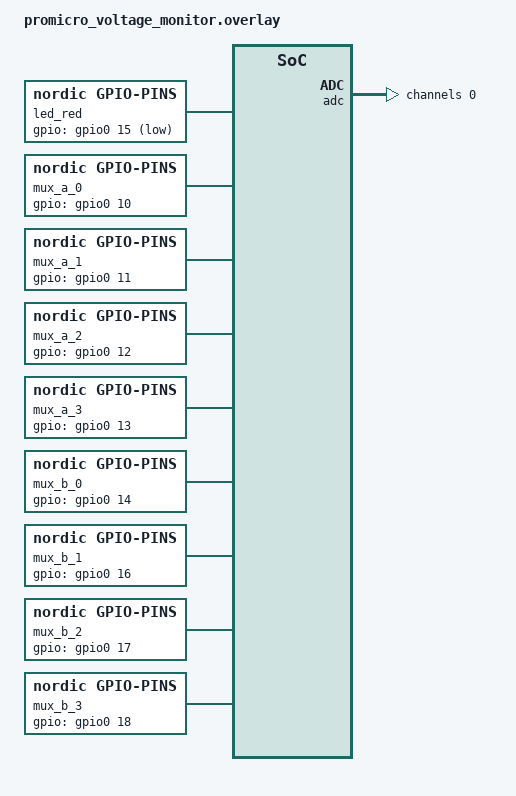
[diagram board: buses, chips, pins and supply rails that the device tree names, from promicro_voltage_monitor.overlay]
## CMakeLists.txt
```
#
# Copyright (c) 2018 Nordic Semiconductor
#
# SPDX-License-Identifier: LicenseRef-Nordic-5-Clause
#
cmake_minimum_required(VERSION 3.20.0)

find_package(Zephyr REQUIRED HINTS $ENV{ZEPHYR_BASE})
project(promicro_battery_monitor)

set(BOARD_ROOT ${CMAKE_CURRENT_SOURCE_DIR}/boards)

# NORDIC SDK APP START
target_sources(app PRIVATE
  src/main.c
  src/application/application.c
  src/bluetooth/bluetooth.c
  src/bluetooth/service.c
  src/sensor/main_voltage.c
  src/sensor/internal_temp.c
  src/hardware/led.c
  src/hardware/mux.c
)

# NORDIC SDK APP END
zephyr_library_include_directories(.)

# add_custom_command(TARGET app POST_BUILD
#     COMMAND ${CMAKE_COMMAND} -E copy ${CMAKE_BINARY_DIR}/zephyr/app_update.bin C:/Users/Olof/OneDrive/DFU
#     COMMENT "Copying app_update.bin to specified folder"
# )
```

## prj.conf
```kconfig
#
# Copyright (c) 2018 Nordic Semiconductor
#
# SPDX-License-Identifier: LicenseRef-Nordic-5-Clause
#
CONFIG_NCS_SAMPLES_DEFAULTS=y

CONFIG_ADC=y
CONFIG_ADC_NRFX_SAADC=y

CONFIG_BT=y
CONFIG_BT_PERIPHERAL=y
CONFIG_BT_CENTRAL=y
CONFIG_BT_GATT_CLIENT=y
CONFIG_BT_DEVICE_NAME="ProMicro Voltage Monitor"
CONFIG_BT_SETTINGS=y
CONFIG_SETTINGS=y

CONFIG_BT_NUS=y
CONFIG_BT_GATT_DYNAMIC_DB=y
CONFIG_BT_MAX_CONN=1
CONFIG_BT_GATT_AUTO_SEC_REQ=y
CONFIG_UART_CONSOLE=y


# Enable the NRFX drivers (if not already enabled in your project)
CONFIG_NRFX_TEMP=y

# Enable the LBS service
CONFIG_DK_LIBRARY=y

CONFIG_SYSTEM_WORKQUEUE_STACK_SIZE=2048

CONFIG_BOOTLOADER_MCUBOOT=y
CONFIG_NCS_SAMPLE_MCUMGR_BT_OTA_DFU=y

CONFIG_FLASH=y
CONFIG_FLASH_PAGE_LAYOUT=y
CONFIG_NVS=y
CONFIG_FLASH_MAP=y
CONFIG_MPU_ALLOW_FLASH_WRITE=y
CONFIG_MAIN_STACK_SIZE=2048

CONFIG_LOG=y
CONFIG_LOG_MODE_IMMEDIATE=y
CONFIG_UART_CONSOLE=y
CONFIG_CONSOLE=y
CONFIG_STDOUT_CONSOLE=y

CONFIG_USE_SEGGER_RTT=y
CONFIG_LOG_BACKEND_RTT=y
CONFIG_LOG_BACKEND_UART=n

CONFIG_NVS_LOG_LEVEL_DBG=y  
```

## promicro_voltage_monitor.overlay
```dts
/ {
    gate_1: gate-1 {
        status = "disabled";
    };

    gate_2: gate-2 {
        status = "disabled";
    };

    sw_1: sw-1 {
        status = "disabled";
    };

    sw_2: sw-2 {
        status = "disabled";
    };

    pir_1: pir-1 {
        status = "disabled";
    };

    sw_pwr_1: sw-pwr-1 {
        status = "disabled";
    };

	button_1: button-1 {
        status = "disabled";
    };

	sw_mp3: sw-mp3 {
        status = "disabled";
    };

	sw_light: sw-light {
        status = "disabled";
    };

    led_red: led_red {
		compatible = "nordic,gpio-pins";
		gpios = <&gpio0 15 (GPIO_ACTIVE_LOW)>;
        status = "okay";
	};


    mux_a_0: mux_a_0 {
        compatible = "nordic,gpio-pins";
        gpios = <&gpio0 10 (GPIO_ACTIVE_HIGH)>;
        status = "okay";
    };

    mux_a_1: mux_a_1 {
        compatible = "nordic,gpio-pins";
        gpios = <&gpio0 11 (GPIO_ACTIVE_HIGH)>;
        status = "okay";
    };

    mux_a_2: mux_a_2 {
        compatible = "nordic,gpio-pins";
        gpios = <&gpio0 12 (GPIO_ACTIVE_HIGH)>;
        status = "okay";
    };

    mux_a_3: mux_a_3 {
        compatible = "nordic,gpio-pins";
        gpios = <&gpio0 13 (GPIO_ACTIVE_HIGH)>;
        status = "okay";
    };
    
    mux_b_0: mux_b_0 {
        compatible = "nordic,gpio-pins";
        gpios = <&gpio0 14 (GPIO_ACTIVE_HIGH)>;
        status = "okay";
    };

    mux_b_1: mux_b_1 {
        compatible = "nordic,gpio-pins";
        gpios = <&gpio0 16 (GPIO_ACTIVE_HIGH)>;
        status = "okay";
    };

    mux_b_2: mux_b_2 {
        compatible = "nordic,gpio-pins";
        gpios = <&gpio0 17 (GPIO_ACTIVE_HIGH)>;
        status = "okay";
    };

    mux_b_3: mux_b_3 {
        compatible = "nordic,gpio-pins";
        gpios = <&gpio0 18 (GPIO_ACTIVE_HIGH)>;
        status = "okay";
    };
};

&adc {
    #address-cells = <1>;
    #size-cells = <0>;
    status = "okay";

    channel@0 {
        reg = <0>;
        zephyr,gain = "ADC_GAIN_1_6";
        zephyr,reference = "ADC_REF_INTERNAL";
        zephyr,acquisition-time = <ADC_ACQ_TIME(ADC_ACQ_TIME_MICROSECONDS, 20)>;
        zephyr,input-positive = <NRF_SAADC_AIN0>;
        zephyr,resolution = <10>;
    };
};

&gpio0 {
	status = "okay";
};

&gpio1 {
	status = "okay";
};

&gpiote {
	status = "okay";
};
```

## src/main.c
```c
#include <zephyr/kernel.h>
#include <zephyr/sys/printk.h>
#include "application/application.h"

/**
 * @brief Main entry point for the application.
 * 
 * This function serves as the starting point for the program execution. 
 * It initializes necessary system components and then calls the `run_application()` 
 * function to start the main application logic.
 * 
 * @return int Returns 0 if the program completes successfully. 
 *         (Note: This function is expected to be the entry point for Zephyr RTOS, 
 *         which typically doesn't return.)
 */
int main(void)
{
    run_application();
}
```
